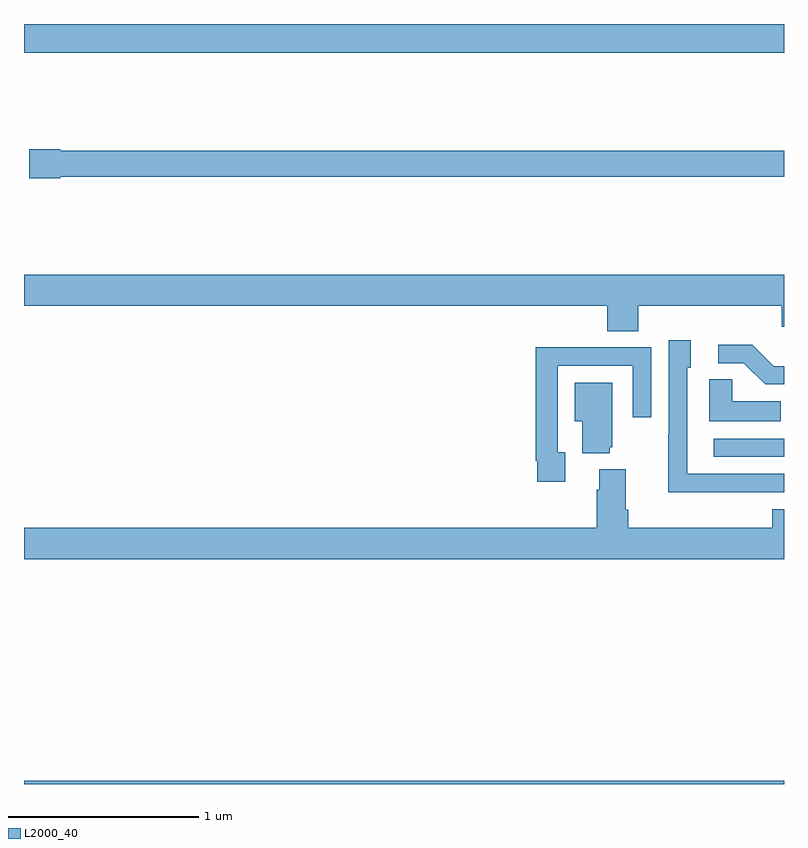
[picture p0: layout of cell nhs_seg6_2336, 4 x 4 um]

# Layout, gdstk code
import gdstk
lib = gdstk.Library(unit=1e-6, precision=1e-09)
def R(c, l, rs):  # rectangles x0, y0, x1, y1
    for r in rs: c.add(gdstk.rectangle(r[:2], r[2:], *l))
def P(c, l, *ps):  # polygons
    for p in ps: c.add(gdstk.Polygon(p, *l))
L2000_40 = (2000, 40)

nhs_seg6_2336 = lib.new_cell('nhs_seg6_2336')
R(nhs_seg6_2336, L2000_40, [(251,931.5,255,931.516), (254.631,933.222,255,933.318), (251,935.348,255,935.5)])
P(nhs_seg6_2336, L2000_40, [(251.19,934.696),(255,934.696),(255,934.832),(251.19,934.832),(251.19,934.84),(251.028,934.84),(251.028,934.688),(251.19,934.688)],
  [(254.234,934.016),(254.987,934.016),(254.987,933.907),(255,933.907),(255,934.18),(251,934.18),(251,934.016),(254.069,934.016),(254.069,933.883),(254.234,933.883)],
  [(254.855,933.036),(255,933.036),(255,933.132),(254.49,933.132),(254.49,933.69),(254.509,933.69),(254.509,933.835),(254.394,933.835),(254.394,933.341),(254.392,933.341),(254.392,933.035),(254.855,933.035)],
  [(255,933.699),(254.946,933.699),(254.833,933.812),(254.655,933.812),(254.655,933.714),(254.789,933.714),(254.9,933.603),(255,933.603)],
  [(253.849,933.246),(253.809,933.246),(253.809,933.702),(254.205,933.702),(254.205,933.429),(254.301,933.429),(254.301,933.798),(253.985,933.798),(253.985,933.8),(253.693,933.8),(253.693,933.202),(253.701,933.202),(253.701,933.09),(253.849,933.09)],
  [(254.984,933.514),(254.727,933.514),(254.727,933.629),(254.606,933.629),(254.606,933.41),(254.984,933.41)],
  [(254.084,933.273),(254.095,933.273),(254.095,933.613),(253.898,933.613),(253.898,933.41),(253.937,933.41),(253.937,933.242),(254.084,933.242)],
  [(255,932.947),(254.939,932.947),(254.939,932.848),(254.18,932.848),(254.18,932.944),(254.167,932.944),(254.167,933.157),(254.027,933.157),(254.027,933.05),(254.015,933.05),(254.015,932.848),(251,932.848),(251,932.684),(255,932.684)])

lib.write_gds('nhs_seg6_2336.gds')
